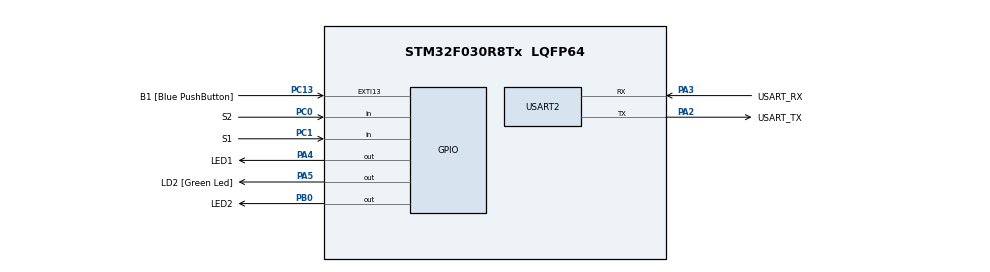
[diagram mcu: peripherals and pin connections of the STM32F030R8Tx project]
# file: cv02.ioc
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Mcu.Family=STM32F0
Mcu.Name=STM32F030R8Tx
Mcu.Package=LQFP64
PA13.GPIO_Label=TMS
PA13.Mode=Serial_Wire
PA13.Signal=SYS_SWDIO
PA14.GPIO_Label=TCK
PA14.Mode=Serial_Wire
PA14.Signal=SYS_SWCLK
PA2.GPIO_Label=USART_TX
PA2.GPIO_Mode=GPIO_MODE_AF_PP
PA2.GPIO_PuPd=GPIO_NOPULL
PA2.GPIO_Speed=GPIO_SPEED_FREQ_LOW
PA2.Mode=Asynchronous
PA2.Signal=USART2_TX
PA3.GPIO_Label=USART_RX
PA3.GPIO_Mode=GPIO_MODE_AF_PP
PA3.GPIO_PuPd=GPIO_NOPULL
PA3.GPIO_Speed=GPIO_SPEED_FREQ_LOW
PA3.Mode=Asynchronous
PA3.Signal=USART2_RX
PA4.GPIO_Label=LED1
PA4.Signal=GPIO_Output
PA5.GPIO_Label=LD2 [Green Led]
PA5.GPIO_Mode=GPIO_MODE_OUTPUT_PP
PA5.GPIO_PuPd=GPIO_NOPULL
PA5.GPIO_Speed=GPIO_SPEED_FREQ_LOW
PA5.Signal=GPIO_Output
PB0.GPIO_Label=LED2
PB0.Signal=GPIO_Output
PC0.GPIO_Label=S2
PC0.GPIO_PuPd=GPIO_PULLUP
PC0.Signal=GPIO_Input
PC1.GPIO_Label=S1
PC1.GPIO_PuPd=GPIO_PULLUP
PC1.Signal=GPIO_Input
PC13.GPIO_Label=B1 [Blue PushButton]
PC13.GPIO_ModeDefaultEXTI=GPIO_MODE_IT_FALLING
PC13.Signal=GPXTI13
PC14-OSC32_IN.Mode=LSE-External-Oscillator
PC14-OSC32_IN.Signal=RCC_OSC32_IN
PC15-OSC32_OUT.Mode=LSE-External-Oscillator
PC15-OSC32_OUT.Signal=RCC_OSC32_OUT
PF0-OSC_IN.Mode=HSE-External-Clock-Source
PF0-OSC_IN.Signal=RCC_OSC_IN
PF1-OSC_OUT.Signal=RCC_OSC_OUT
ProjectManager.HeapSize=0x200
ProjectManager.StackSize=0x400
ProjectManager.TargetToolchain=STM32CubeIDE
RCC.AHBFreq_Value=48000000
RCC.APB1Freq_Value=48000000
RCC.APB1TimFreq_Value=48000000
RCC.HCLKFreq_Value=48000000
RCC.PLLMUL=RCC_PLL_MUL12
RCC.SYSCLKFreq_VALUE=48000000
RCC.SYSCLKSource=RCC_SYSCLKSOURCE_PLLCLK
USART2.VirtualMode-Asynchronous=VM_ASYNC
board=NUCLEO-F030R8

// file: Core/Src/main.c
/* USER CODE BEGIN Header */
/**
  ******************************************************************************
  * @file           : main.c
  * @brief          : Main program body
  ******************************************************************************
  * @attention
  *
  * Copyright (c) 2024 STMicroelectronics.
  * All rights reserved.
  *
  * This software is licensed under terms that can be found in the LICENSE file
  * in the root directory of this software component.
  * If no LICENSE file comes with this software, it is provided AS-IS.
  *
  ******************************************************************************
  */
/* USER CODE END Header */
#include "main.h"

/* USER CODE BEGIN PD */
#define LED_TIME_BLINK 300
#define LED_TIME_40 40
#define LED_TIME_SHORT 100
#define LED_TIME_LONG 1000
#define SHIFT_DELAY 5
/* USER CODE END PD */

/* USER CODE BEGIN PV */
volatile uint32_t Tick;
/* USER CODE END PV */

void SystemClock_Config(void);
static void MX_GPIO_Init(void);
static void MX_USART2_UART_Init(void);

/* USER CODE BEGIN 0 */
void blink(void) {
	static uint32_t delay;

	if (Tick > delay + LED_TIME_BLINK) {
		LL_GPIO_TogglePin(LED1_GPIO_Port, LED1_Pin);
		delay = Tick;
	}
}

void button(void) {
	static uint32_t old_s2;
	static uint32_t delay;
	static uint32_t delay2;
	static uint32_t off_time;
	static uint16_t debounce = 0xFFFF;

	if (Tick > delay + LED_TIME_40) {

		uint32_t new_s2 = LL_GPIO_IsInputPinSet(S2_GPIO_Port, S2_Pin);
		if (old_s2 && !new_s2) { // falling edge
			off_time = Tick + LED_TIME_SHORT;
			LL_GPIO_SetOutputPin(LED2_GPIO_Port, LED2_Pin);
		}
		old_s2 = new_s2;
		//
		//		uint32_t new_s1 = LL_GPIO_IsInputPinSet(S1_GPIO_Port, S1_Pin);
		//				if (old_s1 && !new_s1) { // falling edge
		//					off_time = Tick + LED_TIME_LONG;
		//					LL_GPIO_SetOutputPin(LED2_GPIO_Port, LED2_Pin);
		//				}
		//				old_s1 = new_s1;

		delay = Tick;
	}

	if (Tick > delay2 + SHIFT_DELAY) {
		uint32_t s1 = LL_GPIO_IsInputPinSet(S1_GPIO_Port, S1_Pin);

		debounce <<= 1;
		if (s1) {
			debounce |= 0x0001;
		}

		if (debounce == 0x7fff) {
			LL_GPIO_SetOutputPin(LED2_GPIO_Port, LED2_Pin);
			off_time = Tick + LED_TIME_LONG;
		}
		delay2 = Tick;
	}

	if (Tick > off_time) {
		LL_GPIO_ResetOutputPin(LED2_GPIO_Port, LED2_Pin);
	}
}

/* USER CODE END 0 */

int main(void)
{

  /* MCU Configuration--------------------------------------------------------*/

  /* Reset of all peripherals, Initializes the Flash interface and the Systick. */
  LL_APB1_GRP2_EnableClock(LL_APB1_GRP2_PERIPH_SYSCFG);
  LL_APB1_GRP1_EnableClock(LL_APB1_GRP1_PERIPH_PWR);

  /* Configure the system clock */
  SystemClock_Config();

  /* Initialize all configured peripherals */
  MX_GPIO_Init();
  MX_USART2_UART_Init();

  /* USER CODE BEGIN 2 */
  LL_SYSTICK_EnableIT();
  /* USER CODE END 2 */

  /* Infinite loop */
  while (1)
  {
	  blink();
	  button();
  }
}

void SystemClock_Config(void)
{
  LL_FLASH_SetLatency(LL_FLASH_LATENCY_1);
  while(LL_FLASH_GetLatency() != LL_FLASH_LATENCY_1)
  {
  }
  LL_RCC_HSI_Enable();

   /* Wait till HSI is ready */
  while(LL_RCC_HSI_IsReady() != 1)
  {

  }
  LL_RCC_HSI_SetCalibTrimming(16);
  LL_RCC_PLL_ConfigDomain_SYS(LL_RCC_PLLSOURCE_HSI_DIV_2, LL_RCC_PLL_MUL_12);
  LL_RCC_PLL_Enable();

   /* Wait till PLL is ready */
  while(LL_RCC_PLL_IsReady() != 1)
  {

  }
  LL_RCC_SetAHBPrescaler(LL_RCC_SYSCLK_DIV_1);
  LL_RCC_SetAPB1Prescaler(LL_RCC_APB1_DIV_1);
  LL_RCC_SetSysClkSource(LL_RCC_SYS_CLKSOURCE_PLL);

   /* Wait till System clock is ready */
  while(LL_RCC_GetSysClkSource() != LL_RCC_SYS_CLKSOURCE_STATUS_PLL)
  {

  }
  LL_Init1msTick(48000000);
  LL_SetSystemCoreClock(48000000);
}

static void MX_USART2_UART_Init(void)
{

  LL_USART_InitTypeDef USART_InitStruct = {0};

  LL_GPIO_InitTypeDef GPIO_InitStruct = {0};

  /* Peripheral clock enable */
  LL_APB1_GRP1_EnableClock(LL_APB1_GRP1_PERIPH_USART2);

  LL_AHB1_GRP1_EnableClock(LL_AHB1_GRP1_PERIPH_GPIOA);
  /**USART2 GPIO Configuration
  PA2   ------> USART2_TX
  PA3   ------> USART2_RX
  */
  GPIO_InitStruct.Pin = USART_TX_Pin;
  GPIO_InitStruct.Mode = LL_GPIO_MODE_ALTERNATE;
  GPIO_InitStruct.Speed = LL_GPIO_SPEED_FREQ_LOW;
  GPIO_InitStruct.OutputType = LL_GPIO_OUTPUT_PUSHPULL;
  GPIO_InitStruct.Pull = LL_GPIO_PULL_NO;
  GPIO_InitStruct.Alternate = LL_GPIO_AF_1;
  LL_GPIO_Init(USART_TX_GPIO_Port, &GPIO_InitStruct);

  GPIO_InitStruct.Pin = USART_RX_Pin;
  GPIO_InitStruct.Mode = LL_GPIO_MODE_ALTERNATE;
  GPIO_InitStruct.Speed = LL_GPIO_SPEED_FREQ_LOW;
  GPIO_InitStruct.OutputType = LL_GPIO_OUTPUT_PUSHPULL;
  GPIO_InitStruct.Pull = LL_GPIO_PULL_NO;
  GPIO_InitStruct.Alternate = LL_GPIO_AF_1;
  LL_GPIO_Init(USART_RX_GPIO_Port, &GPIO_InitStruct);

  USART_InitStruct.BaudRate = 38400;
  USART_InitStruct.DataWidth = LL_USART_DATAWIDTH_8B;
  USART_InitStruct.StopBits = LL_USART_STOPBITS_1;
  USART_InitStruct.Parity = LL_USART_PARITY_NONE;
  USART_InitStruct.TransferDirection = LL_USART_DIRECTION_TX_RX;
  USART_InitStruct.HardwareFlowControl = LL_USART_HWCONTROL_NONE;
  USART_InitStruct.OverSampling = LL_USART_OVERSAMPLING_16;
  LL_USART_Init(USART2, &USART_InitStruct);
  LL_USART_DisableIT_CTS(USART2);
  LL_USART_ConfigAsyncMode(USART2);
  LL_USART_Enable(USART2);

}

static void MX_GPIO_Init(void)
{
  LL_EXTI_InitTypeDef EXTI_InitStruct = {0};
  LL_GPIO_InitTypeDef GPIO_InitStruct = {0};

  /* GPIO Ports Clock Enable */
  LL_AHB1_GRP1_EnableClock(LL_AHB1_GRP1_PERIPH_GPIOC);
  LL_AHB1_GRP1_EnableClock(LL_AHB1_GRP1_PERIPH_GPIOF);
  LL_AHB1_GRP1_EnableClock(LL_AHB1_GRP1_PERIPH_GPIOA);
  LL_AHB1_GRP1_EnableClock(LL_AHB1_GRP1_PERIPH_GPIOB);

  /**/
  LL_GPIO_ResetOutputPin(LED1_GPIO_Port, LED1_Pin);

  /**/
  LL_GPIO_ResetOutputPin(LD2_GPIO_Port, LD2_Pin);

  /**/
  LL_GPIO_ResetOutputPin(LED2_GPIO_Port, LED2_Pin);

  /**/
  LL_SYSCFG_SetEXTISource(LL_SYSCFG_EXTI_PORTC, LL_SYSCFG_EXTI_LINE13);

  /**/
  LL_GPIO_SetPinPull(B1_GPIO_Port, B1_Pin, LL_GPIO_PULL_NO);

  /**/
  LL_GPIO_SetPinMode(B1_GPIO_Port, B1_Pin, LL_GPIO_MODE_INPUT);

  /**/
  EXTI_InitStruct.Line_0_31 = LL_EXTI_LINE_13;
  EXTI_InitStruct.LineCommand = ENABLE;
  EXTI_InitStruct.Mode = LL_EXTI_MODE_IT;
  EXTI_InitStruct.Trigger = LL_EXTI_TRIGGER_FALLING;
  LL_EXTI_Init(&EXTI_InitStruct);

  /**/
  GPIO_InitStruct.Pin = S2_Pin;
  GPIO_InitStruct.Mode = LL_GPIO_MODE_INPUT;
  GPIO_InitStruct.Pull = LL_GPIO_PULL_UP;
  LL_GPIO_Init(S2_GPIO_Port, &GPIO_InitStruct);

  /**/
  GPIO_InitStruct.Pin = S1_Pin;
  GPIO_InitStruct.Mode = LL_GPIO_MODE_INPUT;
  GPIO_InitStruct.Pull = LL_GPIO_PULL_UP;
  LL_GPIO_Init(S1_GPIO_Port, &GPIO_InitStruct);

  /**/
  GPIO_InitStruct.Pin = LED1_Pin;
  GPIO_InitStruct.Mode = LL_GPIO_MODE_OUTPUT;
  GPIO_InitStruct.Speed = LL_GPIO_SPEED_FREQ_LOW;
  GPIO_InitStruct.OutputType = LL_GPIO_OUTPUT_PUSHPULL;
  GPIO_InitStruct.Pull = LL_GPIO_PULL_NO;
  LL_GPIO_Init(LED1_GPIO_Port, &GPIO_InitStruct);

  /**/
  GPIO_InitStruct.Pin = LD2_Pin;
  GPIO_InitStruct.Mode = LL_GPIO_MODE_OUTPUT;
  GPIO_InitStruct.Speed = LL_GPIO_SPEED_FREQ_LOW;
  GPIO_InitStruct.OutputType = LL_GPIO_OUTPUT_PUSHPULL;
  GPIO_InitStruct.Pull = LL_GPIO_PULL_NO;
  LL_GPIO_Init(LD2_GPIO_Port, &GPIO_InitStruct);

  /**/
  GPIO_InitStruct.Pin = LED2_Pin;
  GPIO_InitStruct.Mode = LL_GPIO_MODE_OUTPUT;
  GPIO_InitStruct.Speed = LL_GPIO_SPEED_FREQ_LOW;
  GPIO_InitStruct.OutputType = LL_GPIO_OUTPUT_PUSHPULL;
  GPIO_InitStruct.Pull = LL_GPIO_PULL_NO;
  LL_GPIO_Init(LED2_GPIO_Port, &GPIO_InitStruct);

}

void Error_Handler(void)
{
  __disable_irq();
  while (1)
  {
  }
}
